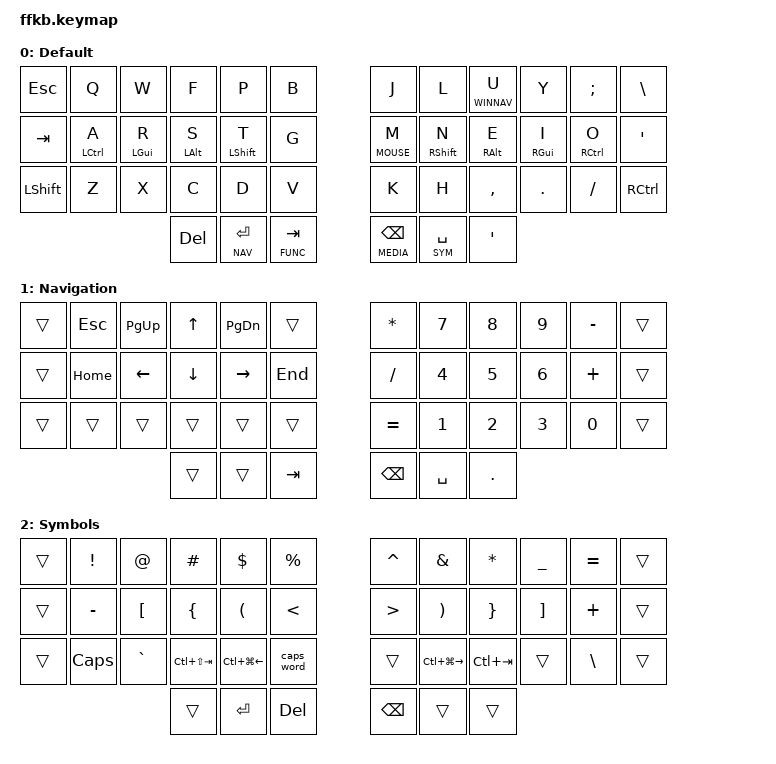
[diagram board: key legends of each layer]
#include <behaviors.dtsi>
#include <dt-bindings/zmk/keys.h>
#include <dt-bindings/zmk/rgb.h>
#include <dt-bindings/zmk/bt.h>
#include <dt-bindings/zmk/ext_power.h>
#include <dt-bindings/zmk/outputs.h>

#define DEFAULT 0
#define NAV     1
#define SYM     2
#define FUNC    3
#define MEDIA   4
#define MOUSE   5
#define WINNAV  6

&caps_word {
    continue-list = <UNDERSCORE MINUS>;
};

/ {
    combos {
        compatible = "zmk,combos";
        combo_undo {
            timeout-ms = <50>;
            key-positions = <26 27>;
            bindings = <&kp LC(Z)>;
        };
        combo_q {
            timeout-ms = <50>;
            key-positions = <27 28>;
            bindings = <&kp Q>;
        };
        combo_semicolon {
            timeout-ms = <50>;
            key-positions = <33 34>;
            bindings = <&kp SEMI>;
        };
    };
};

/ {

    behaviors {
        hm: homerow_mods {
            compatible = "zmk,behavior-hold-tap";
            label = "HOMEROW_MODS";
            #binding-cells = <2>;
            tapping-term-ms = <200>;
            quick_tap_ms = <0>;
            flavor = "balanced";
            bindings = <&kp>, <&kp>;
        };
        hs: homerow_shift {
            compatible = "zmk,behavior-hold-tap";
            label = "HOMEROW_MODS";
            #binding-cells = <2>;
            tapping-term-ms = <175>;
            quick_tap_ms = <0>;
            flavor = "balanced";
            bindings = <&kp>, <&kp>;
        };
    };

    keymap {
        compatible = "zmk,keymap";

        default_layer {
            label = "Default";

            bindings = <
    &kp ESC    &kp Q        &kp W        &kp F       &kp P         &kp B                                       &kp J         &kp L        &lt WINNAV U  &kp Y       &kp SEMI    &kp BSLH
    &kp TAB    &hm LCTL A   &hm LGUI R   &hm LALT S  &hs LSHIFT T  &kp G                                       &lt MOUSE M   &hs RSHIFT N &hm RALT E    &hm RGUI I  &hm RCTL O  &kp SQT
    &kp LSHIFT &kp Z        &kp X        &kp C       &kp D         &kp V                                       &kp K         &kp H        &kp COMMA     &kp DOT     &kp FSLH    &kp RCTRL
                                                     &kp DEL       &lt NAV RET  &lt FUNC TAB  &lt MEDIA BSPC   &lt SYM SPACE &kp SQT
            >;
        };

        nav_layer {
            label = "Navigation";
            
            bindings = <
    &trans     &kp ESC      &kp PG_UP    &kp UP      &kp PG_DN     &trans                                      &kp ASTRK     &kp N7       &kp N8        &kp N9      &kp MINUS   &trans
    &trans     &kp HOME     &kp LEFT     &kp DOWN    &kp RIGHT     &kp END                                     &kp FSLH      &kp N4       &kp N5        &kp N6      &kp PLUS    &trans
    &trans     &trans       &trans       &trans      &trans        &trans                                      &kp EQUAL     &kp N1       &kp N2        &kp N3      &kp N0      &trans
                                                     &trans        &trans       &kp TAB       &kp BSPC         &kp SPACE     &kp DOT
            >;
        };

        sym_layer {
            label = "Symbols";
            
            bindings = <
    &trans     &kp EXCL     &kp AT       &kp HASH        &kp DLLR         &kp PRCNT                                   &kp CARET     &kp AMPS          &kp ASTRK     &kp UNDER   &kp EQUAL   &trans
    &trans     &kp MINUS    &kp LBKT     &kp LBRC        &kp LPAR         &kp LT                                      &kp GT        &kp RPAR          &kp RBRC      &kp RBKT    &kp PLUS    &trans
    &trans     &kp CAPS     &kp GRAVE    &kp LC(LS(TAB)) &kp LC(LG(LEFT)) &caps_word                                  &trans        &kp LC(LG(RIGHT)) &kp LC(TAB)   &trans      &kp BSLH    &trans
                                                         &trans           &kp RET       &kp DEL        &kp BSPC       &trans        &trans
            >;
        };
    };
};
